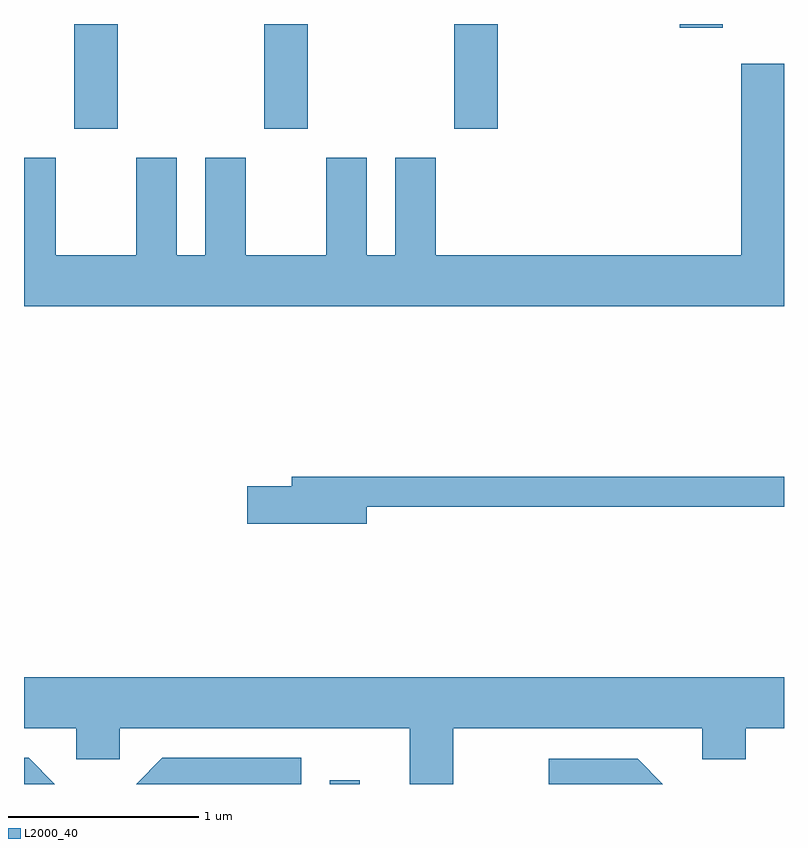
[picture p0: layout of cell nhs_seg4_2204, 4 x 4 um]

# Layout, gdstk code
import gdstk
lib = gdstk.Library(unit=1e-6, precision=1e-09)
def R(c, l, rs):  # rectangles x0, y0, x1, y1
    for r in rs: c.add(gdstk.rectangle(r[:2], r[2:], *l))
def A(c, l, x, y, w, h, nx, ny, dx, dy):  # array of equal rectangles
    R(c, l, [(x+i*dx, y+j*dy, x+i*dx+w, y+j*dy+h) for i in range(nx) for j in range(ny)])
def P(c, l, *ps):  # polygons
    for p in ps: c.add(gdstk.Polygon(p, *l))
L2000_40 = (2000, 40)

nhs_seg4_2204 = lib.new_cell('nhs_seg4_2204')
A(nhs_seg4_2204, L2000_40, 249.876, 1313.431, 0.228, 0.551, 3, 1, 1, 0)
R(nhs_seg4_2204, L2000_40, [(251.221,1309.982,251.379,1310.003), (253.061,1313.961,253.289,1313.982)])
P(nhs_seg4_2204, L2000_40, [(253.611,1313.774),(253.386,1313.774),(253.386,1312.764),(251.779,1312.764),(251.779,1313.279),(251.566,1313.279),(251.566,1312.764),(251.414,1312.764),(251.414,1313.279),(251.201,1313.279),(251.201,1312.764),(250.779,1312.764),(250.779,1313.279),(250.566,1313.279),(250.566,1312.764),(250.414,1312.764),(250.414,1313.279),(250.201,1313.279),(250.201,1312.764),(249.779,1312.764),(249.779,1313.279),(249.611,1313.279),(249.611,1312.496),(253.611,1312.496)],
  [(251.414,1311.441),(253.611,1311.441),(253.611,1311.599),(251.021,1311.599),(251.021,1311.549),(250.786,1311.549),(250.786,1311.351),(251.414,1311.351)],
  [(251.869,1310.276),(253.181,1310.276),(253.181,1310.111),(253.409,1310.111),(253.409,1310.276),(253.611,1310.276),(253.611,1310.544),(249.611,1310.544),(249.611,1310.276),(249.886,1310.276),(249.886,1310.111),(250.114,1310.111),(250.114,1310.276),(251.641,1310.276),(251.641,1309.982),(251.869,1309.982)],
  [(251.069,1310.119),(250.339,1310.119),(250.202,1309.982),(251.069,1309.982)],
  [(249.637,1310.119),(249.611,1310.119),(249.611,1309.982),(249.774,1309.982)],
  [(252.842,1310.114),(252.373,1310.114),(252.373,1309.982),(252.974,1309.982)])

lib.write_gds('nhs_seg4_2204.gds')
